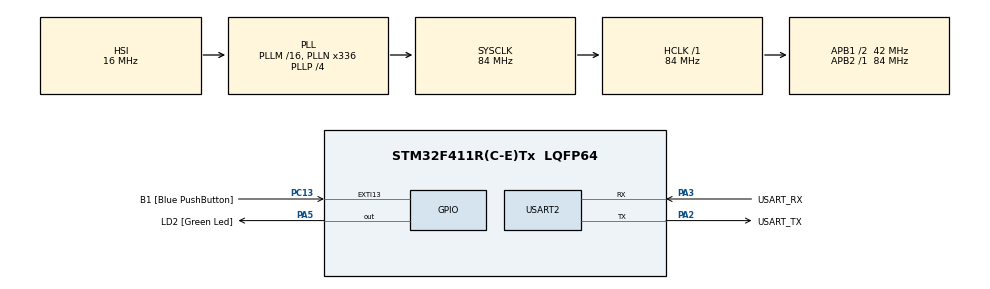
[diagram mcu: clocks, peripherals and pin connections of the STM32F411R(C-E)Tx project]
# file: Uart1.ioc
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Mcu.Family=STM32F4
PC15-OSC32_OUT.Mode=LSE-External-Oscillator
RCC.CortexFreq_Value=84000000
PC13-ANTI_TAMP.GPIO_Label=B1 [Blue PushButton]
PA14.GPIO_Label=TCK
PH1\ -\ OSC_OUT.Mode=HSE-External-Clock-Source
RCC.APB1CLKDivider=RCC_HCLK_DIV2
PC14-OSC32_IN.Signal=RCC_OSC32_IN
NVIC.USART2_IRQn=true\:0\:0\:false\:false\:true\:true\:true
RCC.SYSCLKSource=RCC_SYSCLKSOURCE_PLLCLK
ProjectManager.StackSize=0x400
PA13.Signal=SYS_JTMS-SWDIO
PA3.Mode=Asynchronous
PH0\ -\ OSC_IN.Mode=HSE-External-Clock-Source
PH0\ -\ OSC_IN.Signal=RCC_OSC_IN
ProjectManager.TargetToolchain=STM32CubeIDE
RCC.HCLKFreq_Value=84000000
RCC.APB2TimFreq_Value=84000000
PC15-OSC32_OUT.Signal=RCC_OSC32_OUT
RCC.AHBFreq_Value=84000000
PA5.Signal=GPIO_Output
RCC.HSE_VALUE=8000000
PH1\ -\ OSC_OUT.Signal=RCC_OSC_OUT
board=NUCLEO-F411RE
PC13-ANTI_TAMP.Signal=GPXTI13
RCC.VCOOutputFreq_Value=336000000
RCC.APB2Freq_Value=84000000
PC14-OSC32_IN.Mode=LSE-External-Oscillator
PA14.Mode=Serial_Wire
PA13.Mode=Serial_Wire
Mcu.Name=STM32F411R(C-E)Tx
PA2.Signal=USART2_TX
PA13.GPIO_Label=TMS
RCC.FLatency-AdvancedSettings=FLASH_LATENCY_2
RCC.48MHZClocksFreq_Value=84000000
PB3.Signal=SYS_JTDO-SWO
RCC.SYSCLKFreq_VALUE=84000000
Mcu.Package=LQFP64
PA5.GPIO_Label=LD2 [Green Led]
USART2.VirtualMode=VM_ASYNC
PC13-ANTI_TAMP.GPIO_ModeDefaultEXTI=GPIO_MODE_IT_FALLING
PA2.GPIO_Label=USART_TX
PA14.Signal=SYS_JTCK-SWCLK
ProjectManager.HeapSize=0x200
RCC.HSI_VALUE=16000000
RCC.PLLP=RCC_PLLP_DIV4
NVIC.PriorityGroup=NVIC_PRIORITYGROUP_0
RCC.PLLN=336
RCC.APB1TimFreq_Value=84000000
PA2.Mode=Asynchronous
RCC.APB1Freq_Value=42000000
PA3.GPIO_Label=USART_RX
PA3.Signal=USART2_RX
PB3.GPIO_Label=SWO

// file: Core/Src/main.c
/* USER CODE BEGIN Header */
/**
 ******************************************************************************
 * @file           : main.c
 * @brief          : Main program body
 ******************************************************************************
 * @attention
 *
 * <h2><center>&copy; Copyright (c) 2021 STMicroelectronics.
 * All rights reserved.</center></h2>
 *
 * This software component is licensed by ST under BSD 3-Clause license,
 * the "License"; You may not use this file except in compliance with the
 * License. You may obtain a copy of the License at:
 *                        opensource.org/licenses/BSD-3-Clause
 *
 ******************************************************************************
 */
/* USER CODE END Header */
#include "main.h"

/* USER CODE BEGIN Includes */
#include <stdio.h>
#include <string.h>
/* USER CODE END Includes */

UART_HandleTypeDef huart2;

/* USER CODE BEGIN PV */
char TxDataBuffer[32] =
{ 0 };
char RxDataBuffer[32] =
{ 0 };
/* USER CODE END PV */

void SystemClock_Config(void);
static void MX_GPIO_Init(void);
static void MX_USART2_UART_Init(void);
/* USER CODE BEGIN PFP */
void UARTRecieveAndResponsePolling();
int16_t UARTRecieveIT();
enum _StateDisplay
{
  StateDisplay_Start = 0,
  StateDisplay_MenuRoot_Print =10,
  StateDisplay_MenuRoot_WaitInput,
  StateDisplay_Menu1_Print =20,
  StateDisplay_Menu1_WaitInput,
  StateDisplay_Menu2_Print =30,
  StateDisplay_Menu2_WaitInput

};
uint8_t STATE_Display = 0;
uint32_t timestamp = 0;
int count =1;
uint8_t Is_LED_on =1;
int LED_TOGGLE_DELAY =500;
int is_press =0;
/* USER CODE END PFP */

int main(void)
{

  /* MCU Configuration--------------------------------------------------------*/

  /* Reset of all peripherals, Initializes the Flash interface and the Systick. */
  HAL_Init();

  /* Configure the system clock */
  SystemClock_Config();

  /* Initialize all configured peripherals */
  MX_GPIO_Init();
  MX_USART2_UART_Init();
  /* USER CODE BEGIN 2 */
  {
  char temp[]="HELLO WORLD\r\n please type something to test UART\r\n";
  HAL_UART_Transmit(&huart2, (uint8_t*)temp, strlen(temp),10);
  }
  /* USER CODE END 2 */

  /* Infinite loop */
  /* USER CODE BEGIN WHILE */
	while (1)
	{
		/*Method 1 Polling Mode*/  // BAD Implement

//		UARTRecieveAndResponsePolling();

		/*Method 2 Interrupt Mode*/
		HAL_UART_Receive_IT(&huart2,  (uint8_t*)RxDataBuffer, 32);

		/*Method 2 W/ 1 Char Received*/
		int16_t inputchar = UARTRecieveIT();
		if(inputchar!=-1)
		{

			sprintf(TxDataBuffer, "ReceivedChar:[%c]\r\n", inputchar);
			HAL_UART_Transmit(&huart2, (uint8_t*)TxDataBuffer, strlen(TxDataBuffer), 1000);

		}
		switch (STATE_Display)
		{
			case StateDisplay_Start:
				STATE_Display = StateDisplay_MenuRoot_Print;
				break;
			case StateDisplay_MenuRoot_Print: //display one time state
				yemp();
				STATE_Display = StateDisplay_MenuRoot_WaitInput;
				break;
			case StateDisplay_MenuRoot_WaitInput: //wait state for input
				switch (inputchar)
				{
			      case 0:
			        //no input ; just wait input
			        break;
			      case -1:
			        //no input ; just wait input
			        break;
			      case '0':
			        STATE_Display = StateDisplay_Menu1_Print;
			        break;
			      case '1':
			        STATE_Display = StateDisplay_Menu2_Print;
			        break;
			      default: // actually error , you can add error message
			        wng_press();
			        STATE_Display = StateDisplay_MenuRoot_Print;
			        break;
				}
				break;
			case StateDisplay_Menu1_Print: //display one time state //LED
				LED_msg();
				STATE_Display = StateDisplay_Menu1_WaitInput;
				break;
			case StateDisplay_Menu2_Print: //display state
				B1_msg();
			    STATE_Display = StateDisplay_Menu2_WaitInput;
			    break;

			case StateDisplay_Menu2_WaitInput: //make decision state
			    if (HAL_GPIO_ReadPin(B1_GPIO_Port,B1_Pin) ==1 && is_press ==0)
			    {
			    	B1_notpress();
			    	is_press =1;
			    }
			    else if (HAL_GPIO_ReadPin(B1_GPIO_Port,B1_Pin) ==0 && is_press ==1)
			    {
			    	B1_press();
			    	is_press =0;
			    }
			    switch (inputchar)
			    {
			    	case 0:
			    		//no input ; just wait input
			    		break;
			    	case -1:
			    		//no input ; just wait input
			    	    break;
			    	case 'x': //
			    		STATE_Display = StateDisplay_MenuRoot_Print;
			    		break;
			    	default: // actually error , you can add error message
			    	    wng_press();
			    	    STATE_Display = StateDisplay_Menu2_Print;
			    	    break;
			    }
			    break;
			case StateDisplay_Menu1_WaitInput: //LED
			      switch (inputchar)
			      {
			      case 0:
			        //no input ; just wait input
			        break;
			      case -1:
			    	  //no input ; just wait input
			    	  break;
			      case 'a': //+1Hz
			    	  Is_LED_on = 1;
			    	  count +=1;

			    	  break;
			      case 's': // -1Hz
			    	  Is_LED_on = 1;
			    	  count -=1;

			    	  break;
			      case 'd': // On/Off
			    	  if (Is_LED_on == 1)
			    	  {
			    		  Is_LED_on = 0;
			    	  }
			    	  else if (Is_LED_on == 0)
			    	  {
			    		  Is_LED_on = 1;
			    	  }
			    	  STATE_Display = StateDisplay_Menu1_Print;
			    	  break;
			      case 'x': //
			    	  STATE_Display = StateDisplay_MenuRoot_Print;
			    	  break;

			      default: // actully error , you can add error message
			    	  wng_press();
			    	  STATE_Display = StateDisplay_Menu1_Print;
			    	  break;
			      }
			      break;
		}

		/*This section just simulate Work Load*/
		if (count<0)
		{
			count=0;
		}
		if(Is_LED_on ==1)
		{
			HAL_Delay(500/count);
//		if (((HAL_GetTick() >=-timestamp) >= ((LED_TOGGLE_DELAY / count))) && (Is_LED_on == 1)) // maybe -(count*Hertz)
//		{
//			timestamp = HAL_GetTick();
		HAL_GPIO_TogglePin(LD2_GPIO_Port, LD2_Pin);
		}
		else if(Is_LED_on ==0)
		{
			HAL_GPIO_WritePin(LD2_GPIO_Port, LD2_Pin, 0);
		}

    /* USER CODE END WHILE */

	}
}

void SystemClock_Config(void)
{
  RCC_OscInitTypeDef RCC_OscInitStruct = {0};
  RCC_ClkInitTypeDef RCC_ClkInitStruct = {0};

  /** Configure the main internal regulator output voltage
  */
  __HAL_RCC_PWR_CLK_ENABLE();
  __HAL_PWR_VOLTAGESCALING_CONFIG(PWR_REGULATOR_VOLTAGE_SCALE1);
  /** Initializes the RCC Oscillators according to the specified parameters
  * in the RCC_OscInitTypeDef structure.
  */
  RCC_OscInitStruct.OscillatorType = RCC_OSCILLATORTYPE_HSI;
  RCC_OscInitStruct.HSIState = RCC_HSI_ON;
  RCC_OscInitStruct.HSICalibrationValue = RCC_HSICALIBRATION_DEFAULT;
  RCC_OscInitStruct.PLL.PLLState = RCC_PLL_ON;
  RCC_OscInitStruct.PLL.PLLSource = RCC_PLLSOURCE_HSI;
  RCC_OscInitStruct.PLL.PLLM = 16;
  RCC_OscInitStruct.PLL.PLLN = 336;
  RCC_OscInitStruct.PLL.PLLP = RCC_PLLP_DIV4;
  RCC_OscInitStruct.PLL.PLLQ = 4;
  if (HAL_RCC_OscConfig(&RCC_OscInitStruct) != HAL_OK)
  {
    Error_Handler();
  }
  /** Initializes the CPU, AHB and APB buses clocks
  */
  RCC_ClkInitStruct.ClockType = RCC_CLOCKTYPE_HCLK|RCC_CLOCKTYPE_SYSCLK
                              |RCC_CLOCKTYPE_PCLK1|RCC_CLOCKTYPE_PCLK2;
  RCC_ClkInitStruct.SYSCLKSource = RCC_SYSCLKSOURCE_PLLCLK;
  RCC_ClkInitStruct.AHBCLKDivider = RCC_SYSCLK_DIV1;
  RCC_ClkInitStruct.APB1CLKDivider = RCC_HCLK_DIV2;
  RCC_ClkInitStruct.APB2CLKDivider = RCC_HCLK_DIV1;

  if (HAL_RCC_ClockConfig(&RCC_ClkInitStruct, FLASH_LATENCY_2) != HAL_OK)
  {
    Error_Handler();
  }
}

static void MX_USART2_UART_Init(void)
{

  huart2.Instance = USART2;
  huart2.Init.BaudRate = 115200;
  huart2.Init.WordLength = UART_WORDLENGTH_8B;
  huart2.Init.StopBits = UART_STOPBITS_1;
  huart2.Init.Parity = UART_PARITY_NONE;
  huart2.Init.Mode = UART_MODE_TX_RX;
  huart2.Init.HwFlowCtl = UART_HWCONTROL_NONE;
  huart2.Init.OverSampling = UART_OVERSAMPLING_16;
  if (HAL_UART_Init(&huart2) != HAL_OK)
  {
    Error_Handler();
  }

}

static void MX_GPIO_Init(void)
{
  GPIO_InitTypeDef GPIO_InitStruct = {0};

  /* GPIO Ports Clock Enable */
  __HAL_RCC_GPIOC_CLK_ENABLE();
  __HAL_RCC_GPIOH_CLK_ENABLE();
  __HAL_RCC_GPIOA_CLK_ENABLE();
  __HAL_RCC_GPIOB_CLK_ENABLE();

  /*Configure GPIO pin Output Level */
  HAL_GPIO_WritePin(LD2_GPIO_Port, LD2_Pin, GPIO_PIN_RESET);

  /*Configure GPIO pin : B1_Pin */
  GPIO_InitStruct.Pin = B1_Pin;
  GPIO_InitStruct.Mode = GPIO_MODE_IT_FALLING;
  GPIO_InitStruct.Pull = GPIO_NOPULL;
  HAL_GPIO_Init(B1_GPIO_Port, &GPIO_InitStruct);

  /*Configure GPIO pin : LD2_Pin */
  GPIO_InitStruct.Pin = LD2_Pin;
  GPIO_InitStruct.Mode = GPIO_MODE_OUTPUT_PP;
  GPIO_InitStruct.Pull = GPIO_NOPULL;
  GPIO_InitStruct.Speed = GPIO_SPEED_FREQ_LOW;
  HAL_GPIO_Init(LD2_GPIO_Port, &GPIO_InitStruct);

}

/* USER CODE BEGIN 4 */
void UARTRecieveAndResponsePolling()
{
	char Recieve[32]={0};
	//start Receive in Polling mode
	HAL_UART_Receive(&huart2, (uint8_t*)Recieve, 32, 1000);
	//Create feedback text
	sprintf(TxDataBuffer, "Received:[%s]\r\n", Recieve);
	//send text
	HAL_UART_Transmit(&huart2, (uint8_t*)TxDataBuffer, strlen(TxDataBuffer), 1000);

}

void yemp()
{
	char yemp[]= "Menu\r\n press 0 for LED_status\r\n press 1 for Button_status\r\n ";
	HAL_UART_Transmit(&huart2, (uint8_t*)yemp, strlen(yemp),30);
}
void wng_press()
{
	char emp[]= "error please press the correct key\r\n ";
	HAL_UART_Transmit(&huart2, (uint8_t*)emp, strlen(emp),10);
}
void LED_msg()
{
	char lemp[]= "a: speed +1 Hz\r\n s: speed -1 Hz\r\n d: On/Off \r\n x: back \r\n ";
	HAL_UART_Transmit(&huart2, (uint8_t*)lemp, strlen(lemp),30);
}
void B1_msg()
{
	char kemp[]= "B1: shpw status \r\n x: back \r\n ";
	HAL_UART_Transmit(&huart2, (uint8_t*)kemp, strlen(kemp),20);
}
void B1_press()
{
	char bemp[]= "Button is pressed\r\n ";
	HAL_UART_Transmit(&huart2, (uint8_t*)bemp, strlen(bemp),10);
}
void B1_notpress()
{
	char nbemp[]= "Button is not pressed \r\n ";
	HAL_UART_Transmit(&huart2, (uint8_t*)nbemp, strlen(nbemp),10);
}

int16_t UARTRecieveIT()
{
	//stored data last position
	static uint32_t dataPos =0;
	//create dummy data
	int16_t data=-1;
	//check pos in data vs last position
	if(huart2.RxXferSize - huart2.RxXferCount!=dataPos)
	{
		//read data to buffer
		data=RxDataBuffer[dataPos];
		//move to next pos
		dataPos= (dataPos+1)%huart2.RxXferSize;
	}
	return data;
}

void HAL_UART_RxCpltCallback(UART_HandleTypeDef *huart)
{
	sprintf(TxDataBuffer, "Received:[%s]\r\n", RxDataBuffer);
	HAL_UART_Transmit(&huart2, (uint8_t*)TxDataBuffer, strlen(TxDataBuffer), 1000);  // or  HAL_UART_TransmitIT(&huart2, (uint8_t*)TxDataBuffer, strlen(TxDataBuffer));
}
/* USER CODE END 4 */

void Error_Handler(void)
{
	__disable_irq();
	while (1)
	{
	}
}

/************************ (C) COPYRIGHT STMicroelectronics *****END OF FILE****/
